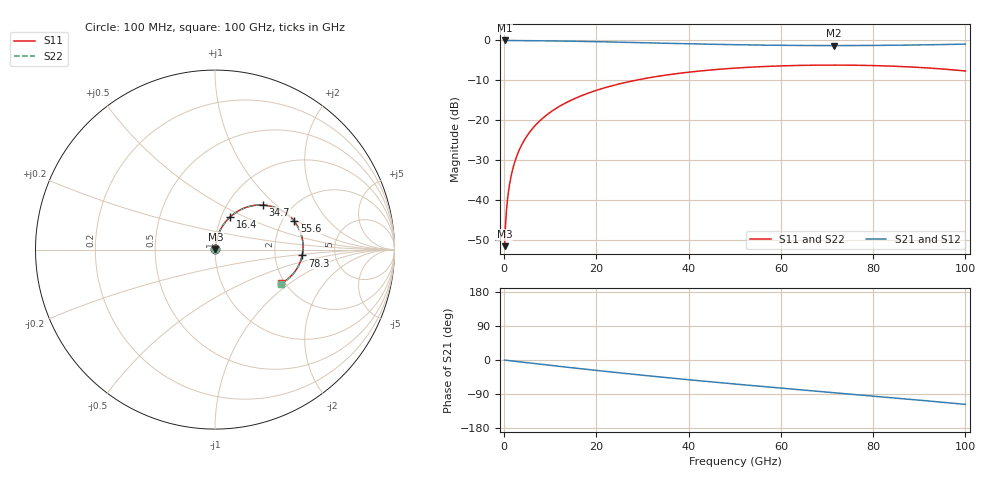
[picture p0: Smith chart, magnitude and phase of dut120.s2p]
! Touchstone file exported from HFSS 2026.1.0
!  File:  C:/ffzhzh/LocalFiles/Ansys_Project_Files/temp_train_RDL_120_1783499428_9504.aedt
!  Generated:  04:31:34 PM Jul  8, 2026
!  Design:  RDL
!  Project:  temp_train_RDL_120_1783499428_9504
! Variables:
!  h_bsmrdl = 2um
!  h_ox = 20um
!  h_rdl = 5um
!  h_sub = 80um
!  h_tmrdl = 2.72um
!  h_tsv = 80um
!  h_via = 3um
!  l_bsmrdl = 300um
!  l_sub = 787.85um
!  l_tmrdl = 387.85um
!  m_sub = 200um
!  pitch = 47.92um
!  r_tsv = 6um
!  s_tmrdl = 10um
!  w_bsmrdl = 18um
!  w_sub = 500um
!  w_tmrdl = 26.15um
!  x_tsv_center1 = 400.925um
!  x_tsv_center2 = 718.925um
!  x_tsv_center3 = 1132.925um
!  x_tsv_center4 = 1450.925um
!  x_tsv_center5 = 1864.925um
!  x_tsv_center6 = 2182.925um
# GHz S MA R 50.000000
! Terminal data exported
! Port[1] = TM_RDL1_1_T1
! Port[2] = TM_RDL1_1_T2
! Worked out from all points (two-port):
!   1000 points, 100 MHz to 100 GHz, reference 50 ohm
!   highest |S21| = -0.02 dB at 100 MHz (marker M1); lowest = -1.3 dB at 71.5 GHz (marker M2)
!   |S21| within 3 dB of the highest: start of sweep to end of sweep
!   lowest |S11| = -51.4 dB at 100 MHz (marker M3), VSWR 1.01, Z = 50.2 + j0.149 ohm
!   |S11| at or under -10 dB: start of sweep to 28.39 GHz
!   |S22| runs from -51.4 to -6.2 dB; largest |S21 - S12| = 1.7e-14
!   S11 on the Smith chart (normalised r, x): 100 MHz: 1.00, +0.00; 16.4 GHz: 1.10, +0.42; 34.7 GHz: 1.45, +0.83; 55.6 GHz: 2.32, +0.94; 78.3 GHz: 2.87, -0.25; 100 GHz: 1.91, -0.87
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0.1  0.002679 33.6  0.9978 -0.2  0.9978 -0.2  0.002679 33.6
! Gamma 0 0 0 0
! Port Impedance 50 0 50 0
0.9  0.0124 75.1  0.997 -1.3  0.997 -1.3  0.0124 75.1
1.2  0.01618 77.6  0.9969 -1.7  0.9969 -1.7  0.01618 77.6
1.5  0.01998 79.0  0.9967 -2.2  0.9967 -2.2  0.01998 79.0
2  0.02637 80.3  0.9965 -2.9  0.9965 -2.9  0.02637 80.3
2.6  0.03405 80.8  0.9962 -3.7  0.9962 -3.7  0.03405 80.8
4.1  0.05322 80.3  0.995 -5.8  0.995 -5.8  0.05322 80.3
6.2  0.07973 78.2  0.9927 -8.8  0.9927 -8.8  0.07973 78.2
8.9  0.113 74.9  0.9886 -12.5  0.9886 -12.5  0.113 74.9
12.3  0.1534 70.5  0.9821 -17.2  0.9821 -17.2  0.1534 70.5
16.4  0.1996 65.3  0.9728 -22.7  0.9728 -22.7  0.1996 65.2
16.8  0.2039 64.7  0.9718 -23.3  0.9718 -23.3  0.2039 64.7
24.2  0.2787 55.4  0.9519 -32.9  0.9519 -32.9  0.2788 55.4
33.4  0.3561 44.3  0.9252 -44.3  0.9252 -44.3  0.3561 44.2
34.7  0.3655 42.8  0.9214 -45.9  0.9214 -45.9  0.3656 42.7
50.1  0.4503 25.5  0.8831 -63.5  0.8831 -63.5  0.4504 25.4
55.6  0.469 19.6  0.8734 -69.4  0.8734 -69.4  0.4691 19.5
66.7  0.4894 8.1  0.8622 -81.2  0.8622 -81.2  0.4895 7.9
71.5  0.4912 3.2  0.861 -86.2  0.861 -86.2  0.4914 3.0
78.3  0.4868 -3.9  0.8633 -93.4  0.8633 -93.4  0.4869 -4.1
83.4  0.4779 -9.2  0.8679 -98.8  0.8679 -98.8  0.478 -9.4
100  0.4142 -27.1  0.898 -117.2  0.898 -117.2  0.4144 -27.4
